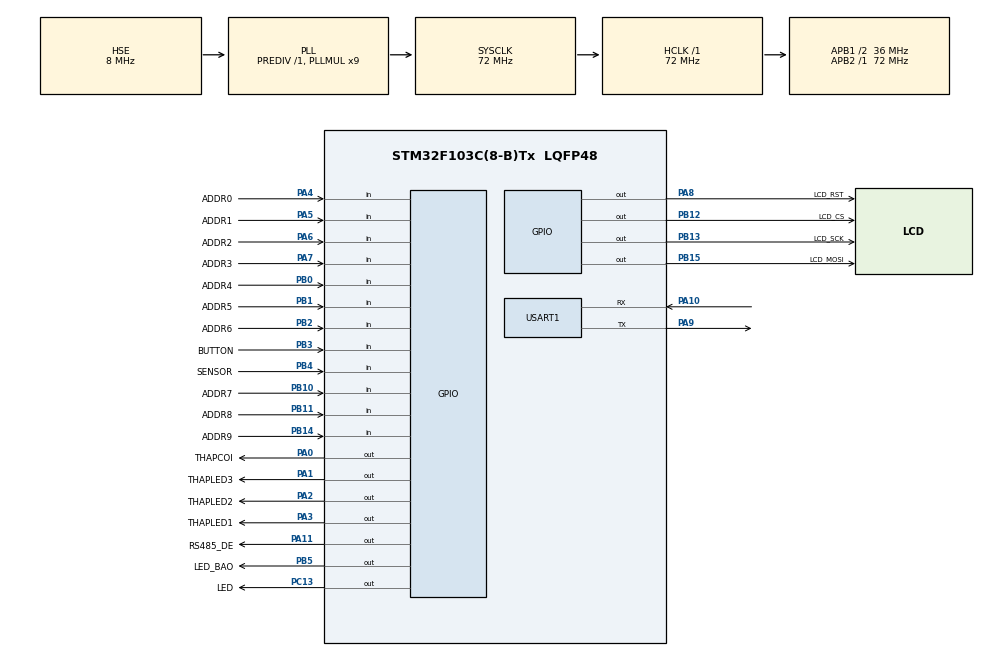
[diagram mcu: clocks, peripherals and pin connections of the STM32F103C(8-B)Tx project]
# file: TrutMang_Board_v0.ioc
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Mcu.Family=STM32F1
Mcu.Name=STM32F103C(8-B)Tx
Mcu.Package=LQFP48
NVIC.PriorityGroup=NVIC_PRIORITYGROUP_4
NVIC.TIM1_UP_IRQn=true\:0\:0\:false\:false\:true\:true\:true\:true
NVIC.TIM2_IRQn=true\:0\:0\:false\:false\:true\:true\:true\:true
NVIC.USART1_IRQn=true\:0\:0\:false\:false\:true\:true\:true\:true
PA0-WKUP.GPIO_Label=THAPCOI
PA0-WKUP.Signal=GPIO_Output
PA1.GPIO_Label=THAPLED3
PA1.Signal=GPIO_Output
PA10.Mode=Asynchronous
PA10.Signal=USART1_RX
PA11.GPIO_Label=RS485_DE
PA11.Signal=GPIO_Output
PA13.Mode=Serial_Wire
PA13.Signal=SYS_JTMS-SWDIO
PA14.Mode=Serial_Wire
PA14.Signal=SYS_JTCK-SWCLK
PA2.GPIO_Label=THAPLED2
PA2.Signal=GPIO_Output
PA3.GPIO_Label=THAPLED1
PA3.Signal=GPIO_Output
PA4.GPIO_Label=ADDR0
PA4.GPIO_PuPd=GPIO_PULLUP
PA4.Signal=GPIO_Input
PA5.GPIO_Label=ADDR1
PA5.GPIO_PuPd=GPIO_PULLUP
PA5.Signal=GPIO_Input
PA6.GPIO_Label=ADDR2
PA6.GPIO_PuPd=GPIO_PULLUP
PA6.Signal=GPIO_Input
PA7.GPIO_Label=ADDR3
PA7.GPIO_PuPd=GPIO_PULLUP
PA7.Signal=GPIO_Input
PA8.GPIO_Label=LCD_RST
PA8.Signal=GPIO_Output
PA9.Mode=Asynchronous
PA9.Signal=USART1_TX
PB0.GPIO_Label=ADDR4
PB0.GPIO_PuPd=GPIO_PULLUP
PB0.Signal=GPIO_Input
PB1.GPIO_Label=ADDR5
PB1.GPIO_PuPd=GPIO_PULLUP
PB1.Signal=GPIO_Input
PB10.GPIO_Label=ADDR7
PB10.GPIO_PuPd=GPIO_PULLUP
PB10.Signal=GPIO_Input
PB11.GPIO_Label=ADDR8
PB11.GPIO_PuPd=GPIO_PULLUP
PB11.Signal=GPIO_Input
PB12.GPIO_Label=LCD_CS
PB12.Signal=GPIO_Output
PB13.GPIO_Label=LCD_SCK
PB13.Signal=GPIO_Output
PB14.GPIO_Label=ADDR9
PB14.GPIO_PuPd=GPIO_PULLUP
PB14.Signal=GPIO_Input
PB15.GPIO_Label=LCD_MOSI
PB15.Signal=GPIO_Output
PB2.GPIO_Label=ADDR6
PB2.GPIO_PuPd=GPIO_PULLUP
PB2.Signal=GPIO_Input
PB3.GPIO_Label=BUTTON
PB3.GPIO_PuPd=GPIO_PULLUP
PB3.Signal=GPIO_Input
PB4.GPIO_Label=SENSOR
PB4.Signal=GPIO_Input
PB5.GPIO_Label=LED_BAO
PB5.Signal=GPIO_Output
PC13-TAMPER-RTC.GPIO_Label=LED
PC13-TAMPER-RTC.Signal=GPIO_Output
PD0-OSC_IN.Mode=HSE-External-Oscillator
PD0-OSC_IN.Signal=RCC_OSC_IN
PD1-OSC_OUT.Mode=HSE-External-Oscillator
PD1-OSC_OUT.Signal=RCC_OSC_OUT
ProjectManager.HeapSize=0x200
ProjectManager.StackSize=0x400
ProjectManager.TargetToolchain=MDK-ARM V5.32
RCC.AHBFreq_Value=72000000
RCC.APB1CLKDivider=RCC_HCLK_DIV2
RCC.APB1Freq_Value=36000000
RCC.APB1TimFreq_Value=72000000
RCC.APB2Freq_Value=72000000
RCC.APB2TimFreq_Value=72000000
RCC.HCLKFreq_Value=72000000
RCC.PLLMUL=RCC_PLL_MUL9
RCC.PLLSourceVirtual=RCC_PLLSOURCE_HSE
RCC.SYSCLKFreq_VALUE=72000000
RCC.SYSCLKSource=RCC_SYSCLKSOURCE_PLLCLK
RCC.USBFreq_Value=72000000
TIM1.Prescaler=71
TIM2.Period=999
TIM2.Prescaler=71
USART1.VirtualMode=VM_ASYNC
VP_TIM1_VS_ClockSourceINT.Mode=Internal
VP_TIM2_VS_ClockSourceINT.Mode=Internal
board=custom

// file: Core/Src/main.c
/* USER CODE BEGIN Header */
/**
  ******************************************************************************
  * @file           : main.c
  * @brief          : Main program body
  ******************************************************************************
  * @attention
  *
  * Copyright (c) 2024 STMicroelectronics.
  * All rights reserved.
  *
  * This software is licensed under terms that can be found in the LICENSE file
  * in the root directory of this software component.
  * If no LICENSE file comes with this software, it is provided AS-IS.
  *
  ******************************************************************************
  */
/* USER CODE END Header */
#include "main.h"

/* USER CODE BEGIN Includes */
#include "st7920.h"
#include <string.h>
#include <stdio.h>
#include <stdlib.h>
#include <stdbool.h>

#include "rs485.h"
#include "user.h"

/* USER CODE END Includes */

TIM_HandleTypeDef htim1;
TIM_HandleTypeDef htim2;

UART_HandleTypeDef huart1;

/* USER CODE BEGIN PV */
	uint16_t cnt_flag_led = 0;
	uint32_t tim_tick_1ms = 0;

	uint32_t __s = 0, __e = 0, __i = 0;

	char ROW0[16], ROW1[16], ROW2[16], ROW3[16];

	extern rs485_t vRS485;
	extern const unsigned char viettel_post[];

	uint16_t cnt_flag_display_lcd = 0;
	uint8_t flag_send = 0;

	uint16_t cnt_flag_autosend = 0;

	uint8_t num_id = 1;

	uint16_t num_irq = 0;

	uint8_t hour = 0;
	uint8_t minute = 0;
	uint32_t num_request_tx = 0, num_response_rx = 0, miss_mess = 0;
	uint16_t num_rx = 0;

	bool MASTER_OR_SLAVE = MASTER;

	uint16_t ID_BOARD_ARRAY[NUMBER_BOARD];
	uint16_t ID_need_send = 1;
	uint8_t isFull_ARRAY[NUMBER_BOARD];

	uint16_t num_packet = 0;
//	uint8_t num_packet_H = 0, num_packet_L = 0;
	uint8_t isFull = 0, isFullAll = 0;

	uint8_t flag_1ms = 0;
	uint8_t Status_Sensor = 0;
	uint32_t __s_sensor = 0;
	uint16_t cnt_sensor_on = 0;

	uint16_t cnt_thapled = 0, cnt_ledbao = 0;
	uint8_t onCoiBao = 0;

	uint8_t getButton = 0;
	uint16_t cnt_Button_on = 0;
	uint8_t isButton = 0;
	uint16_t cnt_isButton = 0;
	uint8_t isConfirmChute = 0;

	uint32_t cnt_free1 = 0, cnt_free2 = 0, cnt_free3 = 0;

/* USER CODE END PV */

void SystemClock_Config(void);
static void MX_GPIO_Init(void);
static void MX_TIM1_Init(void);
static void MX_USART1_UART_Init(void);
static void MX_TIM2_Init(void);

/* USER CODE BEGIN 0 */
	void OnMaster(void);
	void OnSlave(void);

	uint32_t getMicroSecond(void){
		return tim_tick_1ms*1000 + __HAL_TIM_GetCounter(&htim2);
	}

	/*_____________________________________________________________*/
	void HAL_UART_RxCpltCallback(UART_HandleTypeDef *huart) {
			if(huart->Instance == USART1)
			{
				RS485_Read(&vRS485);
				HAL_UART_Receive_IT(&huart1, &vRS485.rxByte, 1);
				num_irq++;
			}
		}

	/*_____________________________________________________________*/
		void HAL_TIM_PeriodElapsedCallback(TIM_HandleTypeDef *htim){
			UNUSED(htim);

			if (htim->Instance == htim2.Instance){ 	// every 1ms
				cnt_flag_led++;
				cnt_flag_autosend++;
				cnt_flag_display_lcd++;
				cnt_thapled++;
				cnt_ledbao++;

				flag_1ms = 1;
			}

		}

/* USER CODE END 0 */

int main(void)
{

  /* MCU Configuration--------------------------------------------------------*/

  /* Reset of all peripherals, Initializes the Flash interface and the Systick. */
  HAL_Init();

  /* Configure the system clock */
  SystemClock_Config();

  /* Initialize all configured peripherals */
  MX_GPIO_Init();
  MX_TIM1_Init();
  MX_USART1_UART_Init();
  MX_TIM2_Init();
  /* USER CODE BEGIN 2 */
	RS485_Init(&vRS485, &huart1);

	ID_BOARD_ARRAY[0] = vRS485.ID_Board;
	for(uint8_t i=1; i<NUMBER_BOARD; i++){
		ID_BOARD_ARRAY[i] = i+300;
	}
	memset(isFull_ARRAY, 0x00, NUMBER_BOARD);
	onCoiBao = !HAL_GPIO_ReadPin(ADDR9_GPIO_Port, ADDR9_Pin);

	memset(ROW0, 0x00, 16);
	memset(ROW1, 0x00, 16);
	memset(ROW2, 0x00, 16);
	memset(ROW3, 0x00, 16);

	HAL_TIM_Base_Start_IT(&htim1);
	ST7920_Init();

	ST7920_GraphicMode(1);
	ST7920_DrawBitmap(viettel_post);

	HAL_Delay(2000);

	ST7920_GraphicMode(0);
	ST7920_Clear();

	sprintf(ROW0, "XIN CHAO");
	sprintf(ROW1, "MACH MANG");
	sprintf(ROW2, "ID: %d", vRS485.ID_Board);
	sprintf(ROW3, "VIETTEL POST");

	ST7920_SendString(0, 0, ROW0);
	ST7920_SendString(1, 0, ROW1);
	ST7920_SendString(2, 0, ROW2);
	ST7920_SendString(3, 0, ROW3);

	HAL_Delay(2000);
	HAL_GPIO_WritePin(LED_BAO_GPIO_Port,LED_BAO_Pin,GPIO_PIN_RESET);
	HAL_GPIO_WritePin(THAPCOI_GPIO_Port,THAPCOI_Pin,GPIO_PIN_RESET);
	HAL_GPIO_WritePin(THAPLED1_GPIO_Port,THAPLED1_Pin,GPIO_PIN_RESET);
	HAL_GPIO_WritePin(THAPLED2_GPIO_Port,THAPLED2_Pin,GPIO_PIN_RESET);
	HAL_GPIO_WritePin(THAPLED3_GPIO_Port,THAPLED3_Pin,GPIO_PIN_RESET);

	HAL_TIM_Base_Start_IT(&htim2);

	HAL_UART_Receive_IT(&huart1, &vRS485.rxByte, 1);
	HAL_GPIO_WritePin(RS485_DE_GPIO_Port, RS485_DE_Pin, GPIO_PIN_RESET);

  /* USER CODE END 2 */

  /* Infinite loop */
  while (1)
  {

    /* USER CODE BEGIN 3 */

	//--------------------------------------------------------------------
		if(cnt_flag_autosend >= 100){
			HAL_GPIO_WritePin(RS485_DE_GPIO_Port, RS485_DE_Pin, GPIO_PIN_SET);

			if(++ID_need_send >= NUMBER_BOARD)
				ID_need_send = 1;

			vRS485.txBuff[0] = vRS485.header;

			vRS485.txBuff[1] = (ID_BOARD_ARRAY[ID_need_send] >> 8) & 0xFF;
			vRS485.txBuff[2] = ID_BOARD_ARRAY[ID_need_send] & 0xFF;
			vRS485.txBuff[3] = 0xAA;
			for(uint8_t i=4; i<SIZE_RS485-2; i++){
				vRS485.txBuff[i] = 0xFF;
			}
			vRS485.txBuff[SIZE_RS485-2] = rand() % 100;
			vRS485.txBuff[SIZE_RS485-1] = vRS485.ender;

			//HAL_Delay(1);
//			HAL_UART_Transmit(&huart1, vRS485.txBuff, SIZE_RS485, HAL_MAX_DELAY);
//
//			//HAL_UART_Transmit(&huart1, (uint8_t*)"Hello", 5, HAL_MAX_DELAY);
//			HAL_GPIO_WritePin(RS485_DE_GPIO_Port, RS485_DE_Pin, GPIO_PIN_RESET);
//			num_request_tx++;

			vRS485.TxFlag = 1;
			cnt_flag_autosend = 0;
		}

		if(vRS485.TxFlag == 1){
				if(RS485_SendData(&vRS485, USART1, 2000)){
					num_request_tx++;
					HAL_GPIO_WritePin(RS485_DE_GPIO_Port, RS485_DE_Pin, GPIO_PIN_RESET);
				}
		}
	//--------------------------------------------------------------------
		if(vRS485.RxFlag == 1){
			/*Handle Data received here*/
			num_response_rx++;
			uint16_t ID_board_slave = (vRS485.rxBuff[1] << 8) | vRS485.rxBuff[2];

			for(uint8_t i = 1; i<NUMBER_BOARD; i++){
				if(ID_BOARD_ARRAY[i] == ID_board_slave){
					isFull_ARRAY[i] = vRS485.rxBuff[4];
				}
			}

			vRS485.RxFlag = 0;
			vRS485.STATE = USART_WAIT;
		}
	//--------------------------------------------------------------------
		if(cnt_flag_display_lcd >= 1000){
			cnt_flag_display_lcd = 0;

//			ST7920_GraphicMode(0);
//			ST7920_Clear();
			memset(ROW0, ' ', 16);
			memset(ROW1, ' ', 16);
			memset(ROW2, ' ', 16);
			memset(ROW3, ' ', 16);

			ST7920_SendString(0, 0, ROW0);
			ST7920_SendString(1, 0, ROW1);
			ST7920_SendString(2, 0, ROW2);
			ST7920_SendString(3, 0, ROW3);

			sprintf(ROW0, "ID Master: %d", vRS485.ID_Board);
//			sprintf(ROW1, "Tx: %d, Rx: %d", num_request_tx, num_response_rx);
//			sprintf(ROW2, "So luong: %d", num_packet);
//			sprintf(ROW3, "Miss: %d", miss_mess);

			sprintf(ROW1, "So luong: %d ", num_packet);
			//sprintf(ROW1, "Rx: %d ", num_request_rx);
			if(isFull == 1){
				sprintf(ROW2, "Mang Day");
				sprintf(ROW3, "XXXXXXXXXXXXXXXX");
			}
			else{
				sprintf(ROW2, "Mang Chua Day");
				memset(ROW3, ' ', 16);
			}

			ST7920_SendString(0, 0, ROW0);
			ST7920_SendString(1, 0, ROW1);
			ST7920_SendString(2, 0, ROW2);
			ST7920_SendString(3, 0, ROW3);
		}
	//--------------------------------------------------------------------
		if(cnt_flag_led >= 50){
			cnt_flag_led = 0;
			HAL_GPIO_TogglePin(LED_GPIO_Port, LED_Pin);
			miss_mess = num_request_tx - num_response_rx;
		}

	//--------------------------------------------------------------------
		Status_Sensor = HAL_GPIO_ReadPin(SENSOR_GPIO_Port, SENSOR_Pin);
		getButton = !HAL_GPIO_ReadPin(BUTTON_GPIO_Port, BUTTON_Pin);
		if(flag_1ms == 1)
		{
			if(isConfirmChute == 0){
				if(Status_Sensor == 1){
					if(cnt_sensor_on == 2000){
						isFull = 1;
					}
					else{
						cnt_sensor_on++;
						if(cnt_sensor_on == 2)
							num_packet++;
					}
				}
				else{
					cnt_sensor_on = 0;
					isFull = 0;
				}
				isFull_ARRAY[0] = isFull;
			}
			else{

			}

			if(getButton && isButton == 0){
				if(isFull == 1){
					if(cnt_Button_on == 100){
						isButton = 1;

						if(isConfirmChute == 0){
							isConfirmChute = 1;
							isFull_ARRAY[0] = 0;
						}
						else{
							isConfirmChute = 0;
							num_packet = 0;
						}
						cnt_free1++;

					}
					else{
						cnt_Button_on++;
					}
				}
				else{
					num_packet = 0;
				}
			}
			else{
				cnt_Button_on = 0;
			}
			if(isButton == 1){
				if(++cnt_isButton >= 3000){
					isButton = 0;
					cnt_isButton = 0;
				}
			}

			/*Check all slave be Full*/

			uint16_t check_full = 0;
			for(uint8_t i=0; i<NUMBER_BOARD; i++){
				check_full += isFull_ARRAY[i];
			}
			if(check_full == 0)
				isFullAll = 0;
			else
				isFullAll = 1;

			flag_1ms = 0;
		}
	//--------------------------------------------------------------------
		if(isFull == 1)
		{
			if(isConfirmChute == 0){
				if(cnt_ledbao >= 500){
					cnt_ledbao = 0;
					HAL_GPIO_TogglePin(LED_BAO_GPIO_Port,LED_BAO_Pin);
				}
			}
			else{
				HAL_GPIO_WritePin(LED_BAO_GPIO_Port,LED_BAO_Pin,GPIO_PIN_SET);
			}
		}
		else
		{
			HAL_GPIO_WritePin(LED_BAO_GPIO_Port,LED_BAO_Pin,GPIO_PIN_RESET);
		}

		if(isFullAll == 1){

			if(onCoiBao){
				HAL_GPIO_WritePin(THAPCOI_GPIO_Port,THAPCOI_Pin,GPIO_PIN_SET);
			}

			if(cnt_thapled >= 500){
				HAL_GPIO_TogglePin(THAPLED1_GPIO_Port,THAPLED1_Pin);
				HAL_GPIO_TogglePin(THAPLED2_GPIO_Port,THAPLED2_Pin);
				HAL_GPIO_TogglePin(THAPLED3_GPIO_Port,THAPLED3_Pin);
				cnt_thapled = 0;
			}
		}
		else{
			HAL_GPIO_WritePin(THAPCOI_GPIO_Port,THAPCOI_Pin,GPIO_PIN_RESET);
			HAL_GPIO_WritePin(THAPLED1_GPIO_Port,THAPLED1_Pin,GPIO_PIN_RESET);
			HAL_GPIO_WritePin(THAPLED2_GPIO_Port,THAPLED2_Pin,GPIO_PIN_RESET);
			HAL_GPIO_WritePin(THAPLED3_GPIO_Port,THAPLED3_Pin,GPIO_PIN_RESET);
		}

	//--------------------------------------------------------------------

  }
  /* USER CODE END 3 */
}

void SystemClock_Config(void)
{
  RCC_OscInitTypeDef RCC_OscInitStruct = {0};
  RCC_ClkInitTypeDef RCC_ClkInitStruct = {0};

  /** Initializes the RCC Oscillators according to the specified parameters
  * in the RCC_OscInitTypeDef structure.
  */
  RCC_OscInitStruct.OscillatorType = RCC_OSCILLATORTYPE_HSE;
  RCC_OscInitStruct.HSEState = RCC_HSE_ON;
  RCC_OscInitStruct.HSEPredivValue = RCC_HSE_PREDIV_DIV1;
  RCC_OscInitStruct.HSIState = RCC_HSI_ON;
  RCC_OscInitStruct.PLL.PLLState = RCC_PLL_ON;
  RCC_OscInitStruct.PLL.PLLSource = RCC_PLLSOURCE_HSE;
  RCC_OscInitStruct.PLL.PLLMUL = RCC_PLL_MUL9;
  if (HAL_RCC_OscConfig(&RCC_OscInitStruct) != HAL_OK)
  {
    Error_Handler();
  }

  /** Initializes the CPU, AHB and APB buses clocks
  */
  RCC_ClkInitStruct.ClockType = RCC_CLOCKTYPE_HCLK|RCC_CLOCKTYPE_SYSCLK
                              |RCC_CLOCKTYPE_PCLK1|RCC_CLOCKTYPE_PCLK2;
  RCC_ClkInitStruct.SYSCLKSource = RCC_SYSCLKSOURCE_PLLCLK;
  RCC_ClkInitStruct.AHBCLKDivider = RCC_SYSCLK_DIV1;
  RCC_ClkInitStruct.APB1CLKDivider = RCC_HCLK_DIV2;
  RCC_ClkInitStruct.APB2CLKDivider = RCC_HCLK_DIV1;

  if (HAL_RCC_ClockConfig(&RCC_ClkInitStruct, FLASH_LATENCY_2) != HAL_OK)
  {
    Error_Handler();
  }
}

static void MX_TIM1_Init(void)
{

  TIM_ClockConfigTypeDef sClockSourceConfig = {0};
  TIM_MasterConfigTypeDef sMasterConfig = {0};

  htim1.Instance = TIM1;
  htim1.Init.Prescaler = 71;
  htim1.Init.CounterMode = TIM_COUNTERMODE_UP;
  htim1.Init.Period = 65535;
  htim1.Init.ClockDivision = TIM_CLOCKDIVISION_DIV1;
  htim1.Init.RepetitionCounter = 0;
  htim1.Init.AutoReloadPreload = TIM_AUTORELOAD_PRELOAD_DISABLE;
  if (HAL_TIM_Base_Init(&htim1) != HAL_OK)
  {
    Error_Handler();
  }
  sClockSourceConfig.ClockSource = TIM_CLOCKSOURCE_INTERNAL;
  if (HAL_TIM_ConfigClockSource(&htim1, &sClockSourceConfig) != HAL_OK)
  {
    Error_Handler();
  }
  sMasterConfig.MasterOutputTrigger = TIM_TRGO_RESET;
  sMasterConfig.MasterSlaveMode = TIM_MASTERSLAVEMODE_DISABLE;
  if (HAL_TIMEx_MasterConfigSynchronization(&htim1, &sMasterConfig) != HAL_OK)
  {
    Error_Handler();
  }

}

static void MX_TIM2_Init(void)
{

  TIM_ClockConfigTypeDef sClockSourceConfig = {0};
  TIM_MasterConfigTypeDef sMasterConfig = {0};

  htim2.Instance = TIM2;
  htim2.Init.Prescaler = 71;
  htim2.Init.CounterMode = TIM_COUNTERMODE_UP;
  htim2.Init.Period = 999;
  htim2.Init.ClockDivision = TIM_CLOCKDIVISION_DIV1;
  htim2.Init.AutoReloadPreload = TIM_AUTORELOAD_PRELOAD_DISABLE;
  if (HAL_TIM_Base_Init(&htim2) != HAL_OK)
  {
    Error_Handler();
  }
  sClockSourceConfig.ClockSource = TIM_CLOCKSOURCE_INTERNAL;
  if (HAL_TIM_ConfigClockSource(&htim2, &sClockSourceConfig) != HAL_OK)
  {
    Error_Handler();
  }
  sMasterConfig.MasterOutputTrigger = TIM_TRGO_RESET;
  sMasterConfig.MasterSlaveMode = TIM_MASTERSLAVEMODE_DISABLE;
  if (HAL_TIMEx_MasterConfigSynchronization(&htim2, &sMasterConfig) != HAL_OK)
  {
    Error_Handler();
  }

}

static void MX_USART1_UART_Init(void)
{

  huart1.Instance = USART1;
  huart1.Init.BaudRate = 115200;
  huart1.Init.WordLength = UART_WORDLENGTH_8B;
  huart1.Init.StopBits = UART_STOPBITS_1;
  huart1.Init.Parity = UART_PARITY_NONE;
  huart1.Init.Mode = UART_MODE_TX_RX;
  huart1.Init.HwFlowCtl = UART_HWCONTROL_NONE;
  huart1.Init.OverSampling = UART_OVERSAMPLING_16;
  if (HAL_UART_Init(&huart1) != HAL_OK)
  {
    Error_Handler();
  }

}

static void MX_GPIO_Init(void)
{
  GPIO_InitTypeDef GPIO_InitStruct = {0};

  /* GPIO Ports Clock Enable */
  __HAL_RCC_GPIOC_CLK_ENABLE();
  __HAL_RCC_GPIOD_CLK_ENABLE();
  __HAL_RCC_GPIOA_CLK_ENABLE();
  __HAL_RCC_GPIOB_CLK_ENABLE();

  /*Configure GPIO pin Output Level */
  HAL_GPIO_WritePin(LED_GPIO_Port, LED_Pin, GPIO_PIN_RESET);

  /*Configure GPIO pin Output Level */
  HAL_GPIO_WritePin(GPIOA, THAPCOI_Pin|THAPLED3_Pin|THAPLED2_Pin|THAPLED1_Pin
                          |LCD_RST_Pin|RS485_DE_Pin, GPIO_PIN_RESET);

  /*Configure GPIO pin Output Level */
  HAL_GPIO_WritePin(GPIOB, LCD_CS_Pin|LCD_SCK_Pin|LCD_MOSI_Pin|LED_BAO_Pin, GPIO_PIN_RESET);

  /*Configure GPIO pin : LED_Pin */
  GPIO_InitStruct.Pin = LED_Pin;
  GPIO_InitStruct.Mode = GPIO_MODE_OUTPUT_PP;
  GPIO_InitStruct.Pull = GPIO_NOPULL;
  GPIO_InitStruct.Speed = GPIO_SPEED_FREQ_LOW;
  HAL_GPIO_Init(LED_GPIO_Port, &GPIO_InitStruct);

  /*Configure GPIO pins : THAPCOI_Pin THAPLED3_Pin THAPLED2_Pin THAPLED1_Pin
                           LCD_RST_Pin RS485_DE_Pin */
  GPIO_InitStruct.Pin = THAPCOI_Pin|THAPLED3_Pin|THAPLED2_Pin|THAPLED1_Pin
                          |LCD_RST_Pin|RS485_DE_Pin;
  GPIO_InitStruct.Mode = GPIO_MODE_OUTPUT_PP;
  GPIO_InitStruct.Pull = GPIO_NOPULL;
  GPIO_InitStruct.Speed = GPIO_SPEED_FREQ_LOW;
  HAL_GPIO_Init(GPIOA, &GPIO_InitStruct);

  /*Configure GPIO pins : ADDR0_Pin ADDR1_Pin ADDR2_Pin ADDR3_Pin */
  GPIO_InitStruct.Pin = ADDR0_Pin|ADDR1_Pin|ADDR2_Pin|ADDR3_Pin;
  GPIO_InitStruct.Mode = GPIO_MODE_INPUT;
  GPIO_InitStruct.Pull = GPIO_PULLUP;
  HAL_GPIO_Init(GPIOA, &GPIO_InitStruct);

  /*Configure GPIO pins : ADDR4_Pin ADDR5_Pin ADDR6_Pin ADDR7_Pin
                           ADDR8_Pin ADDR9_Pin BUTTON_Pin */
  GPIO_InitStruct.Pin = ADDR4_Pin|ADDR5_Pin|ADDR6_Pin|ADDR7_Pin
                          |ADDR8_Pin|ADDR9_Pin|BUTTON_Pin;
  GPIO_InitStruct.Mode = GPIO_MODE_INPUT;
  GPIO_InitStruct.Pull = GPIO_PULLUP;
  HAL_GPIO_Init(GPIOB, &GPIO_InitStruct);

  /*Configure GPIO pins : LCD_CS_Pin LCD_SCK_Pin LCD_MOSI_Pin LED_BAO_Pin */
  GPIO_InitStruct.Pin = LCD_CS_Pin|LCD_SCK_Pin|LCD_MOSI_Pin|LED_BAO_Pin;
  GPIO_InitStruct.Mode = GPIO_MODE_OUTPUT_PP;
  GPIO_InitStruct.Pull = GPIO_NOPULL;
  GPIO_InitStruct.Speed = GPIO_SPEED_FREQ_LOW;
  HAL_GPIO_Init(GPIOB, &GPIO_InitStruct);

  /*Configure GPIO pin : SENSOR_Pin */
  GPIO_InitStruct.Pin = SENSOR_Pin;
  GPIO_InitStruct.Mode = GPIO_MODE_INPUT;
  GPIO_InitStruct.Pull = GPIO_NOPULL;
  HAL_GPIO_Init(SENSOR_GPIO_Port, &GPIO_InitStruct);

}

/* USER CODE BEGIN 4 */

/*______________________________________________________________________________*/

	void OnMaster(void){
		if(flag_send == 1){

		}

	}

/*______________________________________________________________________________*/

	void OnSlave(void){

	}

/* USER CODE END 4 */

void Error_Handler(void)
{
  __disable_irq();
  while (1)
  {
  }
}
